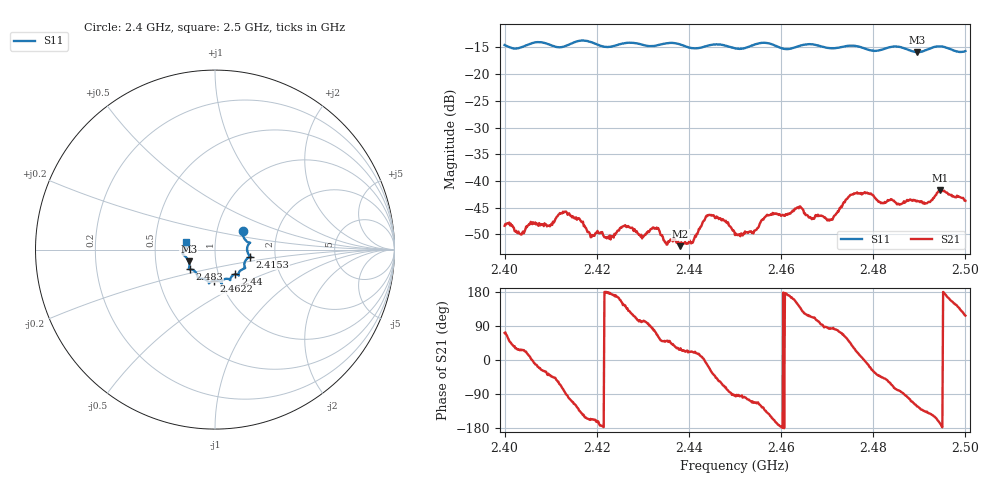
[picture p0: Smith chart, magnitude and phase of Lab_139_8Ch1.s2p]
# Hz S RI R 50
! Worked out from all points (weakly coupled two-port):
!   601 points, 2.4 GHz to 2.5 GHz, reference 50 ohm
!   highest |S21| = -41.73 dB at 2.4945 GHz (marker M1); lowest = -52.2 dB at 2.4382 GHz (marker M2)
!   lowest |S11| = -15.9 dB at 2.4895 GHz (marker M3), VSWR 1.38, Z = 36.9 - j5 ohm
!   |S11| at or under -10 dB: start of sweep to end of sweep
!   S12 and S22 are empty: the file has one direction only
!   S11 on the Smith chart (normalised r, x): 2.4 GHz: 1.33, +0.29; 2.4153 GHz: 1.48, -0.12; 2.44 GHz: 1.20, -0.34; 2.4622 GHz: 0.93, -0.33; 2.483 GHz: 0.74, -0.17; 2.5 GHz: 0.72, +0.06
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2.4e9  0.1546 0.1062  0.00122 0.00361  0 0  0 0
2.403667e9  0.1713 0.0514  0.00284 0.00138  0 0  0 0
2.412833e9  0.1808 -0.0123  0.000875 -0.00498  0 0  0 0
2.415333e9  0.1966 -0.0385  -0.00211 -0.00395  0 0  0 0
2.416667e9  0.2022 -0.0424  -0.00319 -0.00266  0 0  0 0
2.422167e9  0.167 -0.0665  -0.0029 9.69e-05  0 0  0 0
2.425833e9  0.1667 -0.1001  -0.00316 0.0021  0 0  0 0
2.429667e9  0.1562 -0.1081  -0.000552 0.0031  0 0  0 0
2.433333e9  0.1312 -0.1338  0.00174 0.00318  0 0  0 0
2.438167e9  0.1281 -0.1397  0.00211 0.00126  0 0  0 0
2.44e9  0.1139 -0.1368  0.00249 0.001  0 0  0 0
2.444333e9  0.0851 -0.1655  0.00454 -0.0016  0 0  0 0
2.45e9  0.0643 -0.1625  -0.000232 -0.00311  0 0  0 0
2.462167e9  -0.00766 -0.1736  -0.00488 0.00136  0 0  0 0
2.466667e9  -0.0339 -0.1875  -0.00174 0.00403  0 0  0 0
2.470833e9  -0.0564 -0.1655  0.000535 0.00431  0 0  0 0
2.476e9  -0.0942 -0.1583  0.00668 0.00369  0 0  0 0
2.483e9  -0.1377 -0.1098  0.00389 -0.00514  0 0  0 0
2.483333e9  -0.1402 -0.1096  0.0035 -0.00557  0 0  0 0
2.4895e9  -0.1465 -0.0659  -0.00352 -0.00553  0 0  0 0
2.4945e9  -0.1807 -0.0217  -0.00801 -0.00175  0 0  0 0
2.5e9  -0.1597 0.0396  -0.00298 0.00581  0 0  0 0
